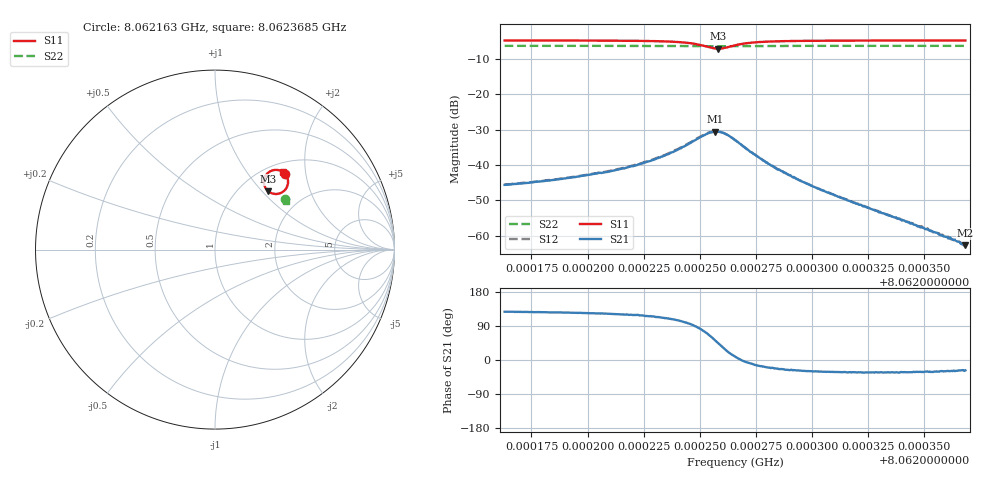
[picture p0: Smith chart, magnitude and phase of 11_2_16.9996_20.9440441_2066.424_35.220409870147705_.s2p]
#  HZ  S  RI  R  50.00
! Rohde & Schwarz Vector Network Analyzer
! Rohde-Schwarz,ZNB20-2Port,1311601062101988,3.16
! Created: UTC 3/20/2024, 10:52:35 PM
! freq[Hz]  re:S11  im:S11  re:S21  im:S21  re:S12  im:S12  re:S22  im:S22
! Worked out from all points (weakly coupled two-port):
!   401 points, 8.062163 GHz to 8.0623685 GHz, reference 50 ohm
!   highest |S21| = -30.53 dB at 8.062257 GHz (marker M1); lowest = -62.7 dB at 8.0623685 GHz (marker M2)
!   lowest |S11| = -7.1 dB at 8.0622581 GHz (marker M3), VSWR 2.57, Z = 67.1 + j54.2 ohm
!   |S11| at or under -10 dB: nowhere
!   |S22| runs from -6.4 to -6.3 dB; largest |S21 - S12| = 0.0026
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8.06216302e9  0.3893 0.4228  -0.00319 0.00417  -0.003 0.00439  0.3917 0.2816
8.06217946e9  0.3923 0.4194  -0.00348 0.00476  -0.00322 0.00502  0.3924 0.2805
8.06219744e9  0.3962 0.4142  -0.00394 0.00582  -0.0036 0.00614  0.3931 0.2794
8.06221696e9  0.4015 0.404  -0.00452 0.0079  -0.00414 0.00831  0.3936 0.278
8.06223186e9  0.4064 0.3864  -0.00503 0.0118  -0.00431 0.0122  0.394 0.2764
8.06223906e9  0.4066 0.3697  -0.00446 0.0152  -0.00345 0.016  0.3941 0.2754
8.06224728e9  0.3935 0.3367  -0.000603 0.0218  0.001 0.0221  0.3932 0.2739
8.06225344e9  0.35 0.3105  0.00966 0.0261  0.0119 0.0256  0.391 0.2732
8.06225704e9  0.3079 0.3176  0.0187 0.0231  0.0207 0.0218  0.3896 0.2741
8.06225807e9  0.2967 0.3251  0.0207 0.0212  0.0227 0.0195  0.3893 0.2746
8.06226166e9  0.2737 0.3637  0.0245 0.0121  0.0255 0.0102  0.3889 0.2763
8.06226577e9  0.2783 0.4047  0.0223 0.00343  0.0226 0.00179  0.39 0.2777
8.06227194e9  0.3042 0.4342  0.0159 -0.00216  0.0159 -0.00333  0.3917 0.2782
8.06228221e9  0.335 0.4441  0.0092 -0.00341  0.00889 -0.00406  0.3935 0.2778
8.06229146e9  0.3497 0.4437  0.00598 -0.00307  0.00591 -0.00339  0.3943 0.277
8.0623002e9  0.3583 0.4418  0.00438 -0.00251  0.00426 -0.00281  0.3951 0.2764
8.06231664e9  0.3675 0.4384  0.00264 -0.00166  0.00255 -0.00182  0.3959 0.2755
8.06233462e9  0.3736 0.4354  0.00162 -0.00105  0.00157 -0.00116  0.3965 0.2743
8.06236031e9  0.379 0.432  0.000854 -0.000473  0.000817 -0.000556  0.3975 0.2728
8.06236288e9  0.3795 0.4318  0.000767 -0.000432  0.000758 -0.000464  0.3976 0.2728
8.06236545e9  0.3799 0.4315  0.000736 -0.000383  0.000706 -0.000461  0.3977 0.2726
8.06236853e9  0.3803 0.4311  0.000653 -0.000337  0.000616 -0.000365  0.3978 0.2725
